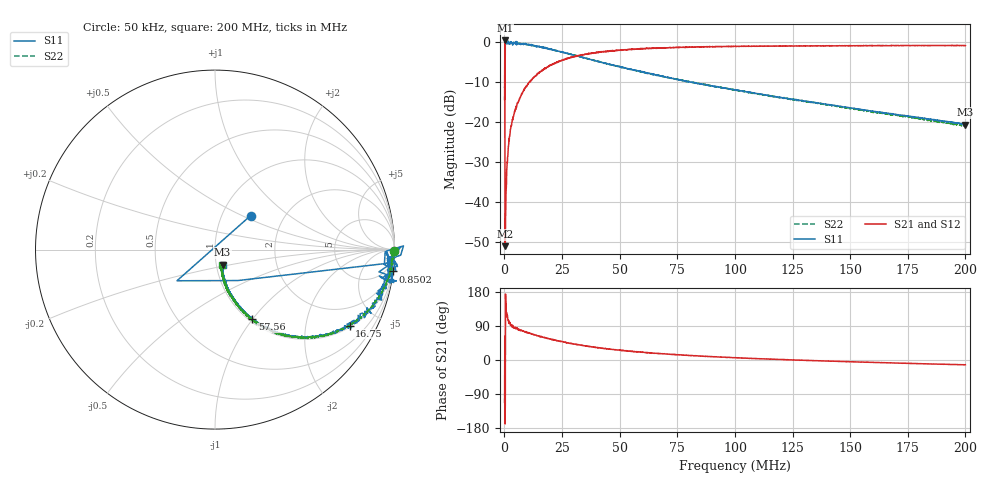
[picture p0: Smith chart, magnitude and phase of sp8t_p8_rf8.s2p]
! 26-Feb-26 1:16:53 PM
! E:\VNA_MEASUREMENTS\SP8T\SP8T_P8_RF8.S2P
! CHANNEL.1
! TR.MEASUREMENT
! CORRECTED.DATA
# GHZ S RI R 50.0
! FREQ.GHZ  S11RE  S11IM  S21RE  S21IM  S12RE  S12IM  S22RE  S22IM
!; PortSelection: Port_12
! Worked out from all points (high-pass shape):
!   2000 points, 50 kHz to 200 MHz, reference 50 ohm
!   highest |S21| = 0.47 dB at 150 kHz (marker M1); lowest = -51.1 dB at 350.1 kHz (marker M2)
!   |S21| within 3 dB of the highest: 40.13 MHz to 40.34 MHz (207.4 kHz wide, 0.515 % of centre); 40.73 MHz to end of sweep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
!   lowest |S11| = -20.6 dB at 200 MHz (marker M3), VSWR 1.21, Z = 53.6 - j9 ohm
!   |S11| at or under -10 dB: start of sweep to 276.2 kHz; 81.29 MHz to 81.74 MHz (449.7 kHz wide, 0.552 % of centre); 81.78 MHz to end of sweep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
!   |S22| runs from -21.0 to 0.1 dB; largest |S21 - S12| = 1.1
!   S11 on the Smith chart (normalised r, x): 50 kHz: 1.36, +0.56; 850.2 kHz: 0, -16; 16.75 MHz: 1.07, -3.50; 57.56 MHz: 1.04, -1.00; 200 MHz: 1.07, -0.18
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5e-05  0.1983 0.1894  -0.072 -0.1786  0.00657 -0.0128  0.9979 -0.00606
0.000150025  -0.2119 -0.1735  0.4765 0.9417  -0.000201 0.000923  0.9866 -0.00183
0.000350075  0.952 -0.0775  -0.00131 -0.00246  -0.000664 0.00974  0.9959 -0.0216
0.0008502  0.9902 -0.1217  -0.00987 0.0134  -0.00127 0.0227  0.9934 -0.0311
0.001150275  0.9823 -0.054  -0.0142 0.028  -0.00403 0.032  0.9864 -0.0358
0.0012503  0.9596 -0.0299  -0.0147 0.0274  -0.0025 0.034  0.9954 -0.0502
0.001350325  1.013 -0.0823  -0.0135 0.0342  -0.000988 0.038  0.99 -0.052
0.0016504  1.036 0.0171  -0.0121 0.0473  -0.00391 0.049  0.9806 -0.0489
0.002350575  0.9436 -0.0836  -0.00716 0.0694  -0.00161 0.0674  0.9805 -0.0801
0.003550875  0.9134 -0.1241  0.00308 0.106  0.0045 0.1036  0.9765 -0.1225
0.004951226  0.9456 -0.1633  0.0187 0.1455  0.0164 0.1482  0.9671 -0.1615
0.009652401  0.8907 -0.2818  0.0789 0.2684  0.0826 0.2728  0.8939 -0.2923
0.01675418  0.7498 -0.4237  0.2275 0.3905  0.2282 0.3915  0.7501 -0.4233
0.02335583  0.6088 -0.4763  0.367 0.4403  0.369 0.4446  0.6119 -0.4794
0.03345835  0.4364 -0.4824  0.5463 0.4322  0.5386 0.4328  0.431 -0.4894
0.04276068  0.322 -0.4505  0.6612 0.3852  0.6538 0.3882  0.3149 -0.452
0.05756438  0.2074 -0.3876  0.7651 0.3041  0.7676 0.3033  0.2043 -0.3906
0.06676668  0.1648 -0.3493  0.809 0.2565  0.8103 0.2543  0.1587 -0.3503
0.100075  0.0826 -0.2398  0.8855 0.0918  0.8851 0.0918  0.0787 -0.2418
0.1333833  0.0542 -0.1698  0.9044 -0.02  0.9016 -0.0206  0.0477 -0.1709
0.1666917  0.0437 -0.1212  0.9029 -0.118  0.9018 -0.1169  0.039 -0.1199
0.2  0.0424 -0.0831  0.8873 -0.1978  0.8867 -0.2011  0.0378 -0.0832
